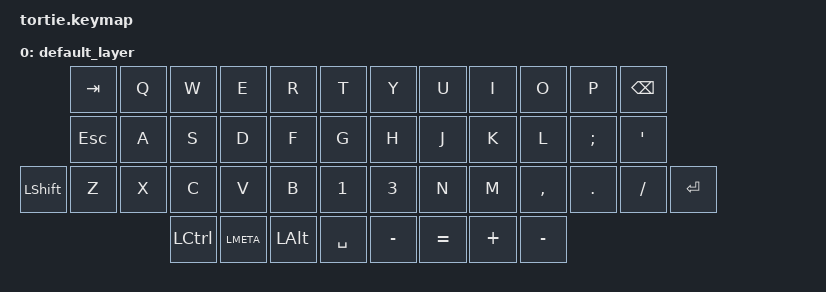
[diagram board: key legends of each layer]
// This file was generated from a template. Edit it to match your keyboard.
// See https://zmk.dev/docs/development/hardware-integration/new-shield for more instructions.

#include <behaviors.dtsi>
#include <dt-bindings/zmk/keys.h>

/ {
    // Define a default keymap here.
    // See https://zmk.dev/docs/development/hardware-integration/new-shield#default-keymap.
    keymap {
        compatible = "zmk,keymap";

        default_layer {
            bindings = <
                &kp TAB   &kp Q &kp W &kp E     &kp R    &kp T                         &kp Y     &kp U    &kp I     &kp O   &kp P    &kp BSPC
                &kp ESC   &kp A &kp S &kp D     &kp F    &kp G                         &kp H     &kp J    &kp K     &kp L   &kp SEMI &kp SQT 
                &kp LSHIFT &kp Z &kp X &kp C     &kp V    &kp B   &kp N1      &kp N3    &kp N     &kp M    &kp COMMA &kp DOT &kp FSLH &kp ENTER
                                      &kp LCTRL &kp LMETA &kp LALT &kp SPACE   &kp MINUS &kp EQUAL &kp PLUS &kp MINUS 
            >;
        };
    };
};
